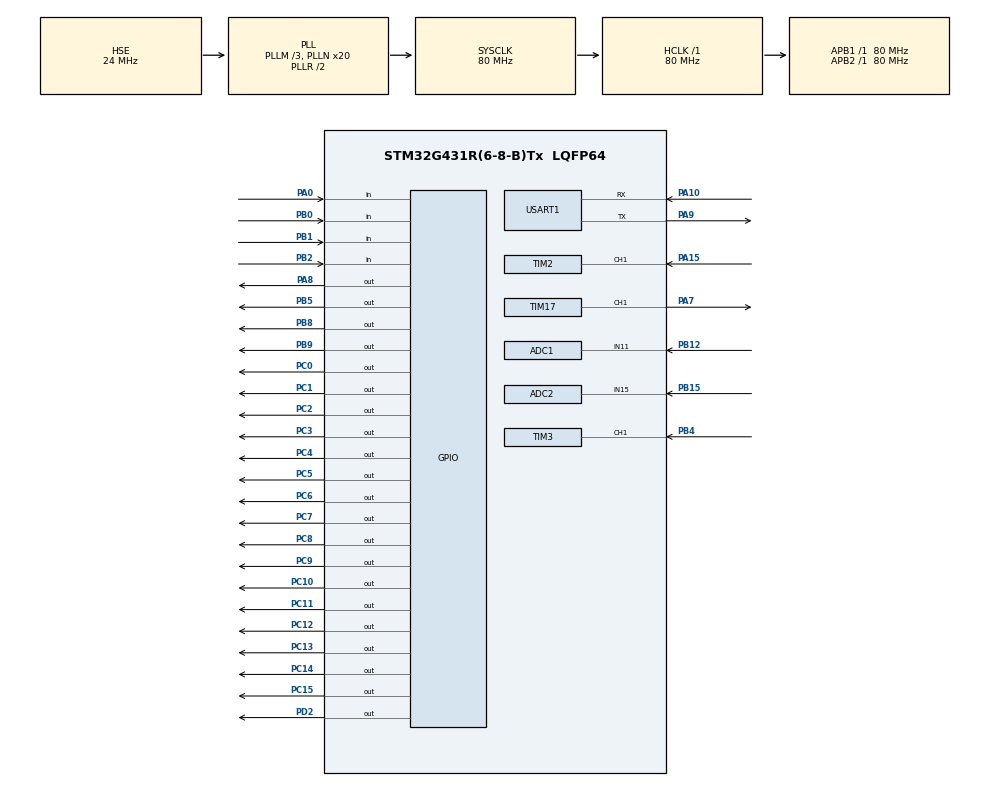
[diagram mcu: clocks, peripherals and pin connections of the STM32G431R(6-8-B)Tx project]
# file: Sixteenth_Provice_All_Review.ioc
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ADC1.Channel-0\#ChannelRegularConversion=ADC_CHANNEL_11
ADC1.NbrOfConversionFlag=1
ADC1.OffsetNumber-0\#ChannelRegularConversion=ADC_OFFSET_NONE
ADC1.Rank-0\#ChannelRegularConversion=1
ADC1.SamplingTime-0\#ChannelRegularConversion=ADC_SAMPLETIME_2CYCLES_5
ADC1.master=1
ADC2.Channel-0\#ChannelRegularConversion=ADC_CHANNEL_15
ADC2.NbrOfConversionFlag=1
ADC2.OffsetNumber-0\#ChannelRegularConversion=ADC_OFFSET_NONE
ADC2.Rank-0\#ChannelRegularConversion=1
ADC2.SamplingTime-0\#ChannelRegularConversion=ADC_SAMPLETIME_2CYCLES_5
Mcu.Family=STM32G4
Mcu.Name=STM32G431R(6-8-B)Tx
Mcu.Package=LQFP64
NVIC.PriorityGroup=NVIC_PRIORITYGROUP_4
NVIC.TIM1_TRG_COM_TIM17_IRQn=true\:0\:0\:false\:false\:true\:true\:true\:true
NVIC.TIM2_IRQn=true\:0\:0\:false\:false\:true\:true\:true\:true
NVIC.TIM3_IRQn=true\:0\:0\:false\:false\:true\:true\:true\:true
PA0.GPIO_PuPd=GPIO_PULLUP
PA0.Signal=GPIO_Input
PA10.Mode=Asynchronous
PA10.Signal=USART1_RX
PA13.Mode=Serial_Wire
PA13.Signal=SYS_JTMS-SWDIO
PA14.Mode=Serial_Wire
PA14.Signal=SYS_JTCK-SWCLK
PA15.Signal=S_TIM2_CH1
PA7.Signal=S_TIM17_CH1
PA8.Signal=GPIO_Output
PA9.Mode=Asynchronous
PA9.Signal=USART1_TX
PB0.GPIO_PuPd=GPIO_PULLUP
PB0.Signal=GPIO_Input
PB1.GPIO_PuPd=GPIO_PULLUP
PB1.Signal=GPIO_Input
PB12.Mode=IN11-Single-Ended
PB12.Signal=ADC1_IN11
PB15.Mode=IN15-Single-Ended
PB15.Signal=ADC2_IN15
PB2.GPIO_PuPd=GPIO_PULLUP
PB2.Signal=GPIO_Input
PB4.Signal=S_TIM3_CH1
PB5.Signal=GPIO_Output
PB8-BOOT0.Signal=GPIO_Output
PB9.Signal=GPIO_Output
PC0.Signal=GPIO_Output
PC1.Signal=GPIO_Output
PC10.Signal=GPIO_Output
PC11.Signal=GPIO_Output
PC12.Signal=GPIO_Output
PC13.Signal=GPIO_Output
PC14-OSC32_IN.Signal=GPIO_Output
PC15-OSC32_OUT.Signal=GPIO_Output
PC2.Signal=GPIO_Output
PC3.Signal=GPIO_Output
PC4.Signal=GPIO_Output
PC5.Signal=GPIO_Output
PC6.Signal=GPIO_Output
PC7.Signal=GPIO_Output
PC8.Signal=GPIO_Output
PC9.Signal=GPIO_Output
PD2.Signal=GPIO_Output
PF0-OSC_IN.Mode=HSE-External-Oscillator
PF0-OSC_IN.Signal=RCC_OSC_IN
PF1-OSC_OUT.Mode=HSE-External-Oscillator
PF1-OSC_OUT.Signal=RCC_OSC_OUT
ProjectManager.HeapSize=0x200
ProjectManager.StackSize=0x400
ProjectManager.TargetToolchain=MDK-ARM V5.32
RCC.ADC12Freq_Value=80000000
RCC.AHBFreq_Value=80000000
RCC.APB1Freq_Value=80000000
RCC.APB1TimFreq_Value=80000000
RCC.APB2Freq_Value=80000000
RCC.APB2TimFreq_Value=80000000
RCC.CortexFreq_Value=80000000
RCC.EXTERNAL_CLOCK_VALUE=12288000
RCC.HCLKFreq_Value=80000000
RCC.HSE_VALUE=24000000
RCC.HSI48_VALUE=48000000
RCC.HSI_VALUE=16000000
RCC.LSE_VALUE=32768
RCC.PLLM=RCC_PLLM_DIV3
RCC.PLLN=20
RCC.PLLSourceVirtual=RCC_PLLSOURCE_HSE
RCC.SYSCLKFreq_VALUE=80000000
RCC.SYSCLKSource=RCC_SYSCLKSOURCE_PLLCLK
RCC.USBFreq_Value=80000000
RCC.VCOOutputFreq_Value=160000000
SH.S_TIM17_CH1.0=TIM17_CH1,Output Compare1 CH1
SH.S_TIM2_CH1.0=TIM2_CH1,TriggerSource_TI1FP1
SH.S_TIM2_CH1.1=TIM2_CH1,Input_Capture1_from_TI1
SH.S_TIM3_CH1.0=TIM3_CH1,Input_Capture1_from_TI1
SH.S_TIM3_CH1.1=TIM3_CH1,TriggerSource_TI1FP1
TIM17.Channel=TIM_CHANNEL_1
TIM17.PeriodNoDither=100-1
TIM17.Prescaler=800-1
TIM2.Channel-Input_Capture1_from_TI1=TIM_CHANNEL_1
TIM2.Prescaler=80-1
TIM3.Channel-Input_Capture1_from_TI1=TIM_CHANNEL_1
TIM3.Prescaler=80-1
USART1.VirtualMode-Asynchronous=VM_ASYNC
VP_SYS_VS_DBSignals.Mode=DisableDeadBatterySignals
VP_TIM17_VS_ClockSourceINT.Mode=Enable_Timer
VP_TIM2_VS_ClockSourceINT.Mode=Internal
VP_TIM2_VS_ControllerModeReset.Mode=Reset Mode
VP_TIM3_VS_ClockSourceINT.Mode=Internal
VP_TIM3_VS_ControllerModeReset.Mode=Reset Mode
board=custom

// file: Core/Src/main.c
/* USER CODE BEGIN Header */
/**
  ******************************************************************************
  * @file           : main.c
  * @brief          : Main program body
  ******************************************************************************
  * @attention
  *
  * Copyright (c) 2025 STMicroelectronics.
  * All rights reserved.
  *
  * This software is licensed under terms that can be found in the LICENSE file
  * in the root directory of this software component.
  * If no LICENSE file comes with this software, it is provided AS-IS.
  *
  ******************************************************************************
  */
/* USER CODE END Header */
#include "main.h"
#include "adc.h"
#include "tim.h"
#include "usart.h"
#include "gpio.h"

void SystemClock_Config(void);

/* USER CODE BEGIN 0 */
void e2prom_write(u8 addr,u8 data)
{
	I2CStart();
	I2CSendByte(0xa0);
	I2CWaitAck();
	I2CSendByte(addr);
	I2CWaitAck();
	I2CSendByte(data);
	I2CWaitAck();
	I2CStop();
	HAL_Delay(50);
}
u8 e2prom_read(u8 addr)
{
	u8 data;
	I2CStart();
	I2CSendByte(0xa0);
	I2CWaitAck();
	I2CSendByte(addr);
	I2CWaitAck();
	HAL_Delay(50);
	I2CStart();
	I2CSendByte(0xa1);
	I2CWaitAck();
	data=I2CReceiveByte();
	I2CWaitAck();
	I2CStop();
	HAL_Delay(50);
	return data;
}
u8 lcd_mod=0;
u8 key_read;
u8 b1,b11,b2,b22,b3,b33,b4,b44;
double V_R37,V_R38;
double F_R39,F_R40;
u8 e2p_data[5]={'0','0','0'},e2p_index=0;
int tim500,tim_b3_con,tim_b4_con,tim_ok;
void key(void)
{
	if(HAL_GPIO_ReadPin(GPIOB,GPIO_PIN_0)==0) b1=1;
	else b1=0;
	if(b1==1&&b11==0)
	{
		b11=1;key_read=1;
		lcd_mod++;
		LCD_Clear(Black);
		if(lcd_mod==2) lcd_mod=0;
	}if(b1==0&&b11==1) b11=0;

	if(HAL_GPIO_ReadPin(GPIOB,GPIO_PIN_1)==0) b2=1;
	else b2=0;
	if(b2==1&&b22==0)
	{
		b22=1;key_read=2;
		e2p_index++;
		if(e2p_index==3) e2p_index=0;
	}if(b2==0&&b22==1) b22=0;

	if(HAL_GPIO_ReadPin(GPIOB,GPIO_PIN_2)==0) b3=1;
	else b3=0;
	if(b3==1&&b33==0)
	{
		b33=1;key_read=3;
		tim_b3_con=1;
		tim_ok=0;
	}if(b3==0&&b33==1)
	{
		if(tim_ok==0) e2p_data[e2p_index]++;
		tim_b3_con=0;
		tim500=0;
		e2prom_write(e2p_index,e2p_data[e2p_index]);
		b33=0;
	}

	if(HAL_GPIO_ReadPin(GPIOA,GPIO_PIN_0)==0) b4=1;
	else b4=0;
	if(b4==1&&b44==0)
	{
		b44=1;key_read=4;
		e2prom_write(e2p_index,e2p_data[e2p_index]);
		tim_b4_con=1;
		tim_ok=0;
	}if(b4==0&&b44==1)
	{
		if(tim_ok==0) e2p_data[e2p_index]--;
		tim_b4_con=0;
		tim500=0;
		e2prom_write(e2p_index,e2p_data[e2p_index]);
		b44=0;
	}
}
void lcd(void)
{
	u8 t[30];
	if(lcd_mod==0)
	{
		sprintf((char *)t,"        BASE        ");
		LCD_DisplayStringLine(Line1, (unsigned char *)t);
		if(key_read==0) sprintf((char *)t," KEY:         ");
		if(key_read==1) sprintf((char *)t," KEY:B1       ");
		if(key_read==2) sprintf((char *)t," KEY:B2       ");
		if(key_read==3) sprintf((char *)t," KEY:B3       ");
		if(key_read==4) sprintf((char *)t," KEY:B4       ");
		LCD_DisplayStringLine(Line3, (unsigned char *)t);
		sprintf((char *)t," V_R37:%.1f V_R38:%.1f  ",V_R37,V_R38);
		LCD_DisplayStringLine(Line4, (unsigned char *)t);
		if(F_R39<1000)		sprintf((char *)t," F_R39:%.1fHz  ",F_R39);
		if(F_R39>=1000)		sprintf((char *)t," F_R39:%.1fKHz ",F_R39/1000.0);
		LCD_DisplayStringLine(Line5, (unsigned char *)t);
		if(F_R40<1000)		sprintf((char *)t," F_R40:%.1fHz  ",F_R40);
		if(F_R40>=1000)		sprintf((char *)t," F_R40:%.1fKHz ",F_R40/1000.0);
		LCD_DisplayStringLine(Line6, (unsigned char *)t);
		if(e2p_index==0)	sprintf((char *)t," E2P:[%c]  %c   %c   ",e2p_data[0],e2p_data[1],e2p_data[2]);
		if(e2p_index==1)	sprintf((char *)t," E2P: %c  [%c]  %c   ",e2p_data[0],e2p_data[1],e2p_data[2]);
		if(e2p_index==2)	sprintf((char *)t," E2P: %c   %c  [%c]  ",e2p_data[0],e2p_data[1],e2p_data[2]);
		LCD_DisplayStringLine(Line7, (unsigned char *)t);

	}
}
void HAL_TIM_IC_CaptureCallback(TIM_HandleTypeDef *htim)
{
	if(htim->Instance==TIM2)
	{
		F_R40=1000000.0/(HAL_TIM_ReadCapturedValue(&htim2,TIM_CHANNEL_1)+1.0);
	}
	if(htim->Instance==TIM3)
	{
		F_R39=1000000.0/(HAL_TIM_ReadCapturedValue(&htim3,TIM_CHANNEL_1)+1.0);
	}
}
void HAL_TIM_PeriodElapsedCallback(TIM_HandleTypeDef *htim)
{
	if(htim->Instance==TIM17)
	{
		if(tim_b3_con)
		{
			if(++tim500==500)
			{
				e2p_data[e2p_index]++;
				tim500=0;
				tim_ok=1;
			}
		}
		if(tim_b4_con)
		{
			if(++tim500==500)
			{
				e2p_data[e2p_index]--;
				tim500=0;
				tim_ok=1;
			}
		}
	}
}
/* USER CODE END 0 */

int main(void)
{

  /* MCU Configuration--------------------------------------------------------*/

  /* Reset of all peripherals, Initializes the Flash interface and the Systick. */
  HAL_Init();

  /* Configure the system clock */
  SystemClock_Config();

  /* Initialize all configured peripherals */
  MX_GPIO_Init();
  MX_ADC1_Init();
  MX_ADC2_Init();
  MX_TIM3_Init();
  MX_USART1_UART_Init();
  MX_TIM2_Init();
  MX_TIM17_Init();

  /* Infinite loop */
  /* USER CODE BEGIN WHILE */
	I2CInit();
	LCD_Init();
	LCD_SetBackColor(Black);
	LCD_SetTextColor(White);
	LCD_Clear(Black);
	HAL_ADCEx_Calibration_Start(&hadc1,ADC_SINGLE_ENDED);
	HAL_ADCEx_Calibration_Start(&hadc2,ADC_SINGLE_ENDED);
	HAL_TIM_IC_Start_IT(&htim2,TIM_CHANNEL_1);
	HAL_TIM_IC_Start_IT(&htim3,TIM_CHANNEL_1);
	HAL_TIM_Base_Start_IT(&htim17);
	e2p_data[0]=e2prom_read(0);
	e2p_data[1]=e2prom_read(1);
	e2p_data[2]=e2prom_read(2);
	HAL_Delay(100);
  while (1)
  {
	  HAL_ADC_Start(&hadc1);
	  V_R37=HAL_ADC_GetValue(&hadc1)/4090.0*3.3;
	  HAL_ADC_Stop(&hadc1);
	  HAL_ADC_Start(&hadc2);
	  V_R38=HAL_ADC_GetValue(&hadc2)/4090.0*3.3;
	  HAL_ADC_Stop(&hadc2);
    /* USER CODE END WHILE */

    /* USER CODE BEGIN 3 */
	  key();lcd();
  }
  /* USER CODE END 3 */
}

void SystemClock_Config(void)
{
  RCC_OscInitTypeDef RCC_OscInitStruct = {0};
  RCC_ClkInitTypeDef RCC_ClkInitStruct = {0};

  /** Configure the main internal regulator output voltage
  */
  HAL_PWREx_ControlVoltageScaling(PWR_REGULATOR_VOLTAGE_SCALE1);

  /** Initializes the RCC Oscillators according to the specified parameters
  * in the RCC_OscInitTypeDef structure.
  */
  RCC_OscInitStruct.OscillatorType = RCC_OSCILLATORTYPE_HSE;
  RCC_OscInitStruct.HSEState = RCC_HSE_ON;
  RCC_OscInitStruct.PLL.PLLState = RCC_PLL_ON;
  RCC_OscInitStruct.PLL.PLLSource = RCC_PLLSOURCE_HSE;
  RCC_OscInitStruct.PLL.PLLM = RCC_PLLM_DIV3;
  RCC_OscInitStruct.PLL.PLLN = 20;
  RCC_OscInitStruct.PLL.PLLP = RCC_PLLP_DIV2;
  RCC_OscInitStruct.PLL.PLLQ = RCC_PLLQ_DIV2;
  RCC_OscInitStruct.PLL.PLLR = RCC_PLLR_DIV2;
  if (HAL_RCC_OscConfig(&RCC_OscInitStruct) != HAL_OK)
  {
    Error_Handler();
  }

  /** Initializes the CPU, AHB and APB buses clocks
  */
  RCC_ClkInitStruct.ClockType = RCC_CLOCKTYPE_HCLK|RCC_CLOCKTYPE_SYSCLK
                              |RCC_CLOCKTYPE_PCLK1|RCC_CLOCKTYPE_PCLK2;
  RCC_ClkInitStruct.SYSCLKSource = RCC_SYSCLKSOURCE_PLLCLK;
  RCC_ClkInitStruct.AHBCLKDivider = RCC_SYSCLK_DIV1;
  RCC_ClkInitStruct.APB1CLKDivider = RCC_HCLK_DIV1;
  RCC_ClkInitStruct.APB2CLKDivider = RCC_HCLK_DIV1;

  if (HAL_RCC_ClockConfig(&RCC_ClkInitStruct, FLASH_LATENCY_2) != HAL_OK)
  {
    Error_Handler();
  }
}

void Error_Handler(void)
{
  __disable_irq();
  while (1)
  {
  }
}
